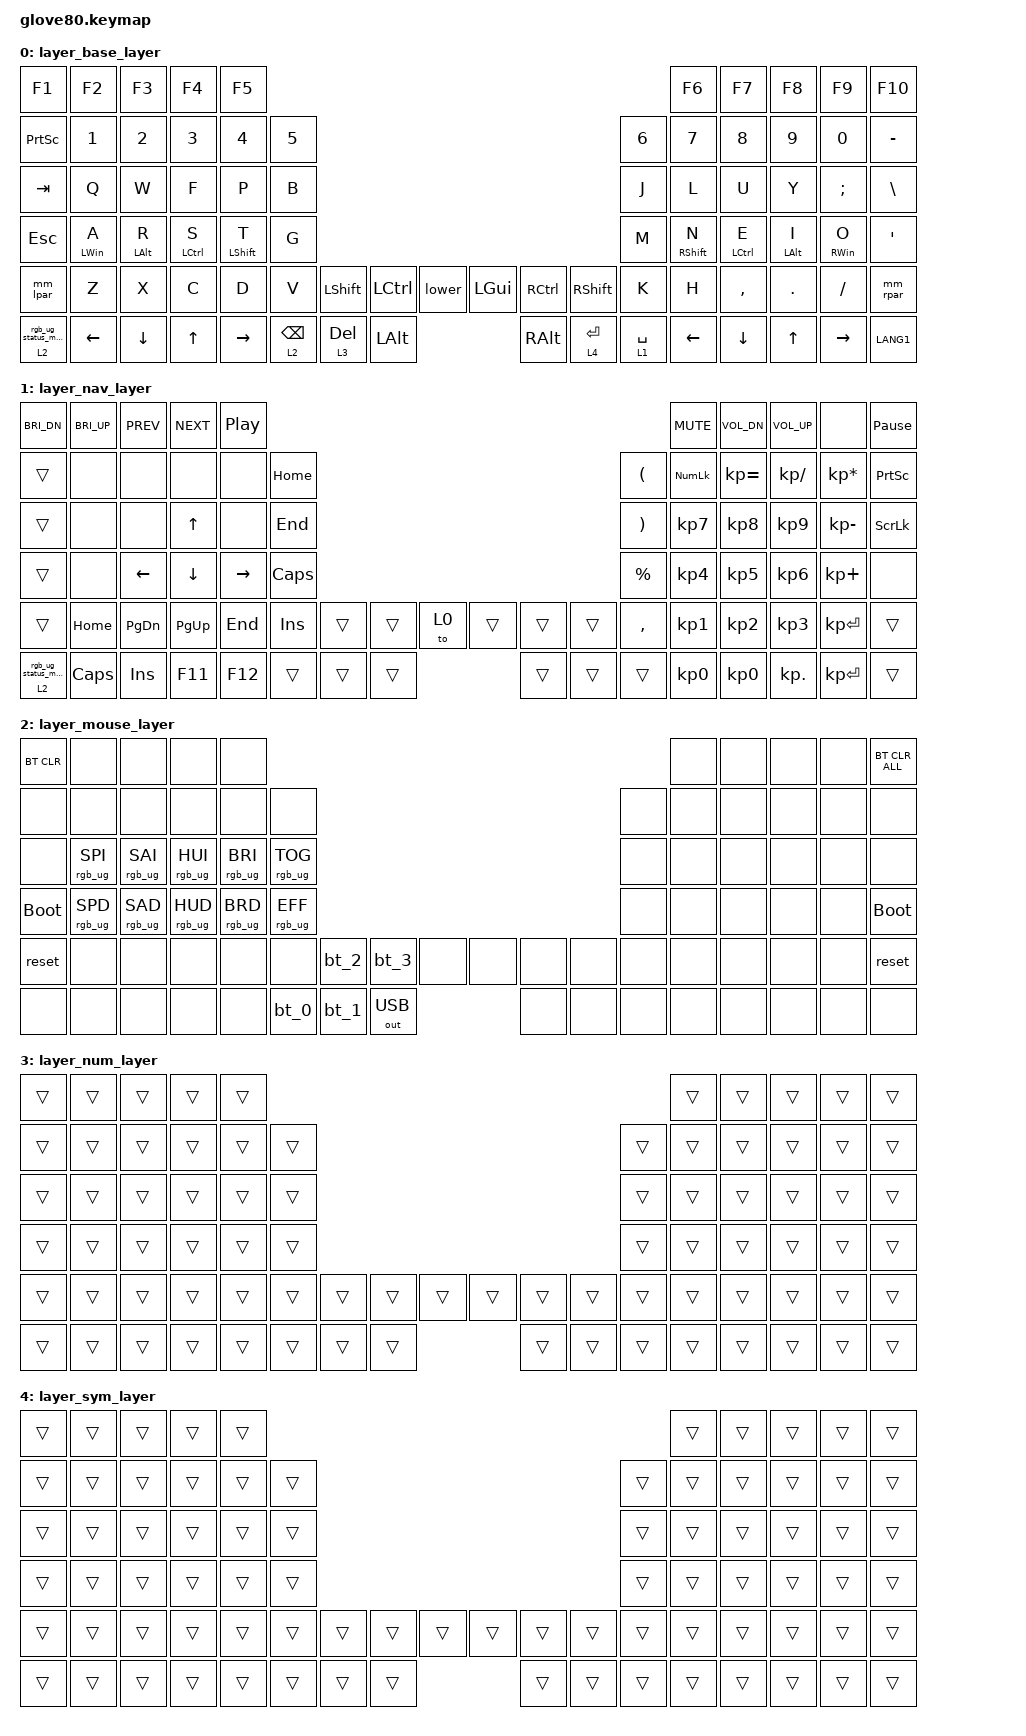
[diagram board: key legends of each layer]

/*
 * Copyright (c) 2020 The ZMK Contributors
 * Copyright (c) 2022 Innaworks Development Limited, trading as MoErgo
 *
 * SPDX-License-Identifier: MIT
 */


/* THIS FILE WAS GENERATED BY GLOVE80 LAYOUT EDITOR
 *
 * This file was generated automatically. You may or may not want to
 * edit it directly.
 */

#include <behaviors.dtsi>
/* Include all behaviour includes needed by system behaviors/macros */
#include <dt-bindings/zmk/outputs.h>

/* Include behaviour includes needed by key binds - automatically generated */
#include <dt-bindings/zmk/keys.h>
#include <dt-bindings/zmk/bt.h>
#include <dt-bindings/zmk/rgb.h>
#include <dt-bindings/zmk/outputs.h>


/ {
    /* Glove80 system behavior & macros */
    behaviors {
        // For the "layer" key, it'd nice to be able to use it as either a shift or a toggle.
        // Configure it as a tap dance, so the first tap (or hold) is a &mo and the second tap is a &to
        lower: tap_dance_0 {
            compatible = "zmk,behavior-tap-dance";
            label = "LAYER_TAP_DANCE";
            #binding-cells = <0>;
            tapping-term-ms = <200>;
            bindings = <&mo 1>, <&to 1>;
        };
    };

    macros {
        rgb_ug_status_macro: rgb_ug_status_macro_0 {
            label = "RGB_UG_STATUS";
            compatible = "zmk,behavior-macro";
            #binding-cells = <0>;
            bindings
                = <&rgb_ug RGB_STATUS>;
        };
    };

    macros {
        bt_0: bt_profile_macro_0 {
            label = "BT_0";
            compatible = "zmk,behavior-macro";
            #binding-cells = <0>;
            bindings
                = <&out OUT_BLE>,
                  <&bt BT_SEL 0>;
        };
    };

    macros {
        bt_1: bt_profile_macro_1 {
            label = "BT_1";
            compatible = "zmk,behavior-macro";
            #binding-cells = <0>;
            bindings
                = <&out OUT_BLE>,
                  <&bt BT_SEL 1>;
        };
    };

    macros {
        bt_2: bt_profile_macro_2 {
            label = "BT_2";
            compatible = "zmk,behavior-macro";
            #binding-cells = <0>;
            bindings
                = <&out OUT_BLE>,
                  <&bt BT_SEL 2>;
        };
    };

    macros {
        bt_3: bt_profile_macro_3 {
            label = "BT_3";
            compatible = "zmk,behavior-macro";
            #binding-cells = <0>;
            bindings
                = <&out OUT_BLE>,
                  <&bt BT_SEL 3>;
        };
    };

    magic: magic_hold_tap {
        compatible = "zmk,behavior-hold-tap";
        label = "MAGIC_HOLD_TAP";
        #binding-cells = <2>;
        flavor = "tap-preferred";
        tapping-term-ms = <200>;
        bindings = <&mo>, <&rgb_ug_status_macro>;
    };

    /* Custom Defined Behaviors */
macros {
    lparm: lparm {
        label = "l_par_m";
        compatible = "zmk,behavior-macro";
        #binding-cells = <0>;
        bindings
            = <&macro_release &kp LCTRL>
            , <&macro_tap &kp LBKT>
            ;
    };
    rparm: rparm {
        label = "r_par_m";
        compatible = "zmk,behavior-macro";
        #binding-cells = <0>;
        bindings
            = <&macro_release &kp LCTRL>
            , <&macro_tap &kp RBKT>
            ;
    };
};

//# more combos
//CONFIG_ZMK_COMBO_MAX_COMBOS_PER_KEY=12

combos {
        compatible = "zmk,combos";
    combo_q {
        timeout-ms = <50>;
        key-positions = <69 23>;
        bindings = <&kp LBRC>;
    };
    combo_w {
        timeout-ms = <50>;
        key-positions = <69 24>;
        bindings = <&kp RBRC>;
    };
    combo_a {
        timeout-ms = <50>;
        key-positions = <69 35>;
        bindings = <&kp LPAR>;
    };
    combo_r {
        timeout-ms = <50>;
        key-positions = <69 36>;
        bindings = <&kp RPAR>;
    };
    combo_z {
        timeout-ms = <50>;
        key-positions = <69 47>;
        bindings = <&kp LBKT>;
    };
    combo_x {
        timeout-ms = <50>;
        key-positions = <69 48>;
        bindings = <&kp RBKT>;
    };
    combo_f {
        timeout-ms = <50>;
        key-positions = <69 25>;
        bindings = <&kp PLUS>;
    };
    combo_p {
        timeout-ms = <50>;
        key-positions = <69 26>;
        bindings = <&kp EQUAL>;
    };
    combo_s {
        timeout-ms = <50>;
        key-positions = <69 37>;
        bindings = <&kp MINUS>;
    };
    combo_t {
        timeout-ms = <50>;
        key-positions = <69 38>;
        bindings = <&kp UNDER>;
    };
    combo_c {
        timeout-ms = <50>;
        key-positions = <69 49>;
        bindings = <&kp GRAVE>;
    };
    combo_d {
        timeout-ms = <50>;
        key-positions = <69 50>;
        bindings = <&kp TILDE>;
    };
};

behaviors {
    mm_lpar: mod_morphed_lpar {
        compatible = "zmk,behavior-mod-morph";
        label = "MOD_MORPHED_LPAR";
        #binding-cells = <0>;
        bindings = <&kp LPAR>, <&lparm>;
        mods = <(MOD_LSFT|MOD_RSFT|MOD_LCTL)>;
    };
    mm_rpar: mod_morphed_rpar {
        compatible = "zmk,behavior-mod-morph";
        label = "MOD_MORPHED_RPAR";
        #binding-cells = <0>;
        bindings = <&kp RPAR>, <&rparm>;
        mods = <(MOD_LSFT|MOD_RSFT|MOD_LCTL)>;
    };
    bhm: balanced_homerow_mods {
        compatible = "zmk,behavior-hold-tap";
        label = "HOMEROW_MODS";
        #binding-cells = <2>;
        tapping-term-ms = <200>;    // <---[[moderate duration]]
        quick-tap-ms = <0>;
        flavor = "balanced";
        bindings = <&kp>, <&kp>;
    };
};

    /* Automatically generated keymap */
    keymap {
        compatible = "zmk,keymap";


        layer_base_layer {
            bindings = <
     &kp F1       &kp F2       &kp F3        &kp F4        &kp F5                                                                                           &kp F6        &kp F7       &kp F8       &kp F9    &kp F10
  &kp PSCRN       &kp N1       &kp N2        &kp N3        &kp N4  &kp N5                                                                     &kp N6        &kp N7        &kp N8       &kp N9       &kp N0  &kp MINUS
    &kp TAB        &kp Q        &kp W         &kp F         &kp P   &kp B                                                                      &kp J         &kp L         &kp U        &kp Y     &kp SEMI   &kp BSLH
    &kp ESC  &bhm LWIN A  &bhm LALT R  &bhm LCTRL S  &bhm LSHFT T   &kp G                                                                      &kp M  &bhm RSHFT N  &bhm LCTRL E  &bhm LALT I  &bhm RWIN O    &kp SQT
   &mm_lpar        &kp Z        &kp X         &kp C         &kp D   &kp V   &kp LSHFT  &kp LCTRL    &lower  &kp LGUI  &kp RCTRL    &kp RSHFT   &kp K         &kp H     &kp COMMA      &kp DOT     &kp FSLH   &mm_rpar
 &magic 2 0     &kp LEFT     &kp DOWN        &kp UP     &kp RIGHT          &lt 2 BSPC  &lt 3 DEL  &kp LALT  &kp RALT  &lt 4 RET  &lt 1 SPACE              &kp LEFT      &kp DOWN       &kp UP    &kp RIGHT  &kp LANG1
            >;
        };

        layer_nav_layer {
            bindings = <
 &kp C_BRI_DN  &kp C_BRI_UP      &kp C_PREV      &kp C_NEXT         &kp C_PP                                                                                   &kp C_MUTE  &kp C_VOL_DN  &kp C_VOL_UP            &none  &kp PAUSE_BREAK
       &trans         &none           &none           &none            &none  &kp HOME                                                   &kp LEFT_PARENTHESIS  &kp KP_NUM  &kp KP_EQUAL  &kp KP_SLASH  &kp KP_MULTIPLY  &kp PRINTSCREEN
       &trans         &none           &none    &kp UP_ARROW            &none   &kp END                                                  &kp RIGHT_PARENTHESIS   &kp KP_N7     &kp KP_N8     &kp KP_N9     &kp KP_MINUS   &kp SCROLLLOCK
       &trans         &none  &kp LEFT_ARROW  &kp DOWN_ARROW  &kp RIGHT_ARROW  &kp CAPS                                                            &kp PERCENT   &kp KP_N4     &kp KP_N5     &kp KP_N6      &kp KP_PLUS            &none
       &trans      &kp HOME       &kp PG_DN       &kp PG_UP          &kp END   &kp INS  &trans  &trans   &to 0  &trans  &trans  &trans              &kp COMMA   &kp KP_N1     &kp KP_N2     &kp KP_N3     &kp KP_ENTER           &trans
   &magic 2 0      &kp CAPS         &kp INS         &kp F11          &kp F12            &trans  &trans  &trans  &trans  &trans  &trans                          &kp KP_N0     &kp KP_N0    &kp KP_DOT     &kp KP_ENTER           &trans
            >;
        };

        layer_mouse_layer {
            bindings = <
  &bt BT_CLR            &none            &none            &none            &none                                                                                  &none   &none   &none   &none  &bt BT_CLR_ALL
       &none            &none            &none            &none            &none            &none                                                         &none   &none   &none   &none   &none           &none
       &none  &rgb_ug RGB_SPI  &rgb_ug RGB_SAI  &rgb_ug RGB_HUI  &rgb_ug RGB_BRI  &rgb_ug RGB_TOG                                                         &none   &none   &none   &none   &none           &none
 &bootloader  &rgb_ug RGB_SPD  &rgb_ug RGB_SAD  &rgb_ug RGB_HUD  &rgb_ug RGB_BRD  &rgb_ug RGB_EFF                                                         &none   &none   &none   &none   &none     &bootloader
      &reset            &none            &none            &none            &none            &none   &bt_2   &bt_3         &none   &none   &none   &none   &none   &none   &none   &none   &none          &reset
       &none            &none            &none            &none            &none                    &bt_0   &bt_1  &out OUT_USB   &none   &none   &none           &none   &none   &none   &none           &none
            >;
        };

        layer_num_layer {
            bindings = <
 &trans  &trans  &trans  &trans  &trans                                                                  &trans  &trans  &trans  &trans  &trans
 &trans  &trans  &trans  &trans  &trans  &trans                                                  &trans  &trans  &trans  &trans  &trans  &trans
 &trans  &trans  &trans  &trans  &trans  &trans                                                  &trans  &trans  &trans  &trans  &trans  &trans
 &trans  &trans  &trans  &trans  &trans  &trans                                                  &trans  &trans  &trans  &trans  &trans  &trans
 &trans  &trans  &trans  &trans  &trans  &trans  &trans  &trans  &trans  &trans  &trans  &trans  &trans  &trans  &trans  &trans  &trans  &trans
 &trans  &trans  &trans  &trans  &trans          &trans  &trans  &trans  &trans  &trans  &trans          &trans  &trans  &trans  &trans  &trans
            >;
        };

        layer_sym_layer {
            bindings = <
 &trans  &trans  &trans  &trans  &trans                                                                  &trans  &trans  &trans  &trans  &trans
 &trans  &trans  &trans  &trans  &trans  &trans                                                  &trans  &trans  &trans  &trans  &trans  &trans
 &trans  &trans  &trans  &trans  &trans  &trans                                                  &trans  &trans  &trans  &trans  &trans  &trans
 &trans  &trans  &trans  &trans  &trans  &trans                                                  &trans  &trans  &trans  &trans  &trans  &trans
 &trans  &trans  &trans  &trans  &trans  &trans  &trans  &trans  &trans  &trans  &trans  &trans  &trans  &trans  &trans  &trans  &trans  &trans
 &trans  &trans  &trans  &trans  &trans          &trans  &trans  &trans  &trans  &trans  &trans          &trans  &trans  &trans  &trans  &trans
            >;
        };

    };
};
